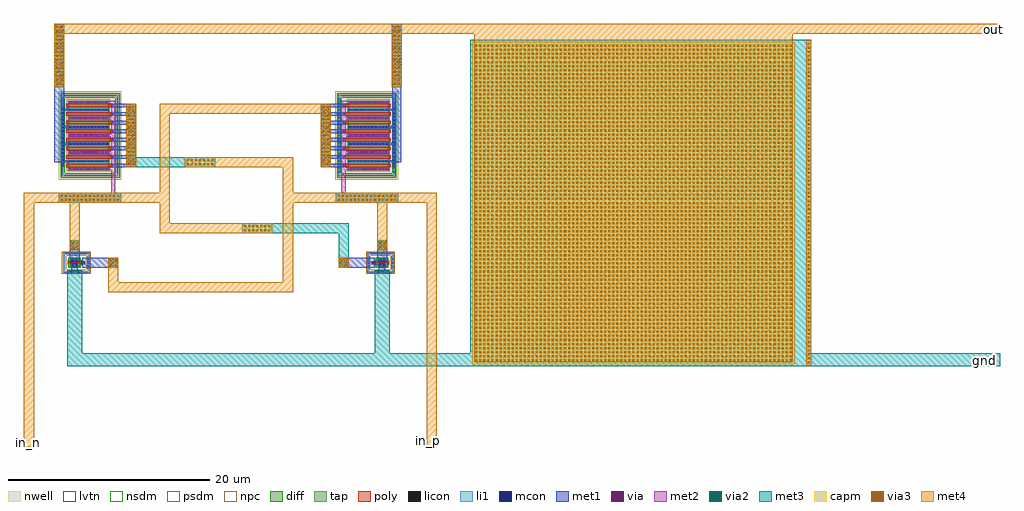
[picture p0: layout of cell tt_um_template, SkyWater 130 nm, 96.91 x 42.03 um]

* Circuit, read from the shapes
.subckt tt_um_template gnd in_n in_p out
XM1 in_n in_p gnd gnd sky130_fd_pr__nfet_01v8_lvt w=1 l=0.15
XM2 in_p in_n gnd gnd sky130_fd_pr__nfet_01v8_lvt w=1 l=0.15
XM3 out in_p in_n out sky130_fd_pr__pfet_01v8 w=4 l=0.35 m=8
XM4 out in_n in_p out sky130_fd_pr__pfet_01v8 w=4 l=0.35 m=8
XC5 out gnd sky130_fd_pr__cap_mim_m3_1 w=32 l=32
.ends

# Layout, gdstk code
from math import pi, radians
import gdstk
lib = gdstk.Library(unit=1e-6, precision=5e-09)
def R(c, l, rs):  # rectangles x0, y0, x1, y1
    for r in rs: c.add(gdstk.rectangle(r[:2], r[2:], *l))
def A(c, l, x, y, w, h, nx, ny, dx, dy):  # array of equal rectangles
    R(c, l, [(x+i*dx, y+j*dy, x+i*dx+w, y+j*dy+h) for i in range(nx) for j in range(ny)])
def P(c, l, *ps):  # polygons
    for p in ps: c.add(gdstk.Polygon(p, *l))
nwell = (64, 20)
diff = (65, 20)
tap = (65, 44)
poly = (66, 20)
licon = (66, 44)
li1 = (67, 20)
mcon = (67, 44)
met1 = (68, 20)
via = (68, 44)
met2 = (69, 20)
via2 = (69, 44)
met3 = (70, 20)
via3 = (70, 44)
met4 = (71, 20)
capm = (89, 44)
nsdm = (93, 44)
psdm = (94, 20)
npc = (95, 20)
lvtn = (125, 44)

vias_gen_13 = lib.new_cell('vias_gen$13')
R(vias_gen_13, li1, [(0,0,1.5,0.33)])
A(vias_gen_13, mcon, 0.125, 0.08, 0.17, 0.17, 4, 1, 0.36, 0)
R(vias_gen_13, met1, [(0,0,1.5,0.33)])
A(vias_gen_13, via, 0.195, 0.09, 0.15, 0.15, 4, 1, 0.32, 0)
R(vias_gen_13, met2, [(0,0,1.5,0.33)])
A(vias_gen_13, via2, 0.25, 0.065, 0.2, 0.2, 3, 1, 0.4, 0)
R(vias_gen_13, met3, [(0,0,1.5,0.33)])

vias_gen_12 = lib.new_cell('vias_gen$12')
R(vias_gen_12, met1, [(0,0,1,1)])
A(vias_gen_12, via, 0.105, 0.105, 0.15, 0.15, 3, 3, 0.32, 0.32)
R(vias_gen_12, met2, [(0,0,1,1)])
R(vias_gen_12, via2, [(0.2,0.2,0.4,0.4), (0.6,0.2,0.8,0.4), (0.2,0.6,0.4,0.8), (0.6,0.6,0.8,0.8)])
R(vias_gen_12, met3, [(0,0,1,1)])
R(vias_gen_12, via3, [(0.2,0.2,0.4,0.4), (0.6,0.2,0.8,0.4), (0.2,0.6,0.4,0.8), (0.6,0.6,0.8,0.8)])
R(vias_gen_12, met4, [(0,0,1,1)])

nfet = lib.new_cell('nfet')
R(nfet, diff, [(0,0,0.75,1)])
P(nfet, tap, [(-0.615,-0.64),(-0.615,1.81),(-0.445,1.81),(-0.445,-0.47),(1.195,-0.47),(1.195,1.81),(-0.615,1.81),(-0.615,1.98),(1.365,1.98),(1.365,-0.64)])
R(nfet, poly, [(0.3,-0.2,0.45,1.2), (0.24,1.2,0.51,1.53)])
A(nfet, licon, -0.07, -0.64, 0.17, 0.17, 3, 2, 0.36, 2.45)
A(nfet, licon, -0.615, -0.135, 0.17, 0.17, 1, 5, 0, 0.36)
A(nfet, licon, 1.195, -0.135, 0.17, 0.17, 1, 5, 0, 0.36)
R(nfet, licon, [(0.065,0.235,0.235,0.405), (0.515,0.235,0.685,0.405), (0.065,0.595,0.235,0.765), (0.515,0.595,0.685,0.765), (0.29,1.28,0.46,1.45)])
R(nfet, li1, [(0.065,0.155,0.235,0.845), (0.515,0.155,0.685,0.845), (0.21,1.28,0.54,1.45)])
P(nfet, li1, [(-0.615,-0.64),(-0.615,1.81),(-0.445,1.81),(-0.445,-0.47),(1.195,-0.47),(1.195,1.81),(-0.615,1.81),(-0.615,1.98),(1.365,1.98),(1.365,-0.64)])
R(nfet, mcon, [(0.065,0.235,0.235,0.405), (0.515,0.235,0.685,0.405), (0.065,0.595,0.235,0.765), (0.515,0.595,0.685,0.765), (0.29,1.28,0.46,1.45)])
R(nfet, met1, [(0.035,0.175,0.265,0.825), (0.485,0.175,0.715,0.825), (0.19,1.25,0.56,1.48)])
R(nfet, nsdm, [(-0.125,-0.125,0.875,1.125)])
P(nfet, psdm, [(-0.74,-0.765),(-0.74,1.685),(-0.32,1.685),(-0.32,-0.345),(1.07,-0.345),(1.07,1.685),(-0.74,1.685),(-0.74,2.105),(1.49,2.105),(1.49,-0.765)])
R(nfet, npc, [(0.23,1.19,0.52,1.54)])
R(nfet, lvtn, [(0.12,-0.18,0.63,1.18)])

vias_gen = lib.new_cell('vias_gen')
R(vias_gen, met1, [(0,0,0.32,4)])
A(vias_gen, via, 0.085, 0.165, 0.15, 0.15, 1, 12, 0, 0.32)
R(vias_gen, met2, [(0,0,0.32,4)])

pfet = lib.new_cell('pfet')
R(pfet, nwell, [(-0.92,-0.945,7.82,5.285)])
R(pfet, diff, [(0,0,6.9,4)])
P(pfet, tap, [(-0.615,-0.64),(-0.615,4.81),(-0.445,4.81),(-0.445,-0.47),(7.345,-0.47),(7.345,4.81),(-0.615,4.81),(-0.615,4.98),(7.515,4.98),(7.515,-0.64)])
A(pfet, poly, 0.3, -0.2, 0.35, 4.4, 8, 1, 0.85, 0)
A(pfet, poly, 0.3, 4.2, 0.35, 0.33, 8, 1, 0.85, 0)
A(pfet, licon, -0.235, -0.64, 0.17, 0.17, 21, 2, 0.36, 5.45)
A(pfet, licon, -0.615, -0.075, 0.17, 0.17, 1, 13, 0, 0.36)
A(pfet, licon, 7.345, -0.075, 0.17, 0.17, 1, 13, 0, 0.36)
A(pfet, licon, 0.065, 0.115, 0.17, 0.17, 1, 11, 0, 0.36)
A(pfet, licon, 0.815, 0.115, 0.17, 0.17, 7, 11, 0.85, 0.36)
A(pfet, licon, 6.665, 0.115, 0.17, 0.17, 1, 11, 0, 0.36)
A(pfet, licon, 0.39, 4.28, 0.17, 0.17, 8, 1, 0.85, 0)
A(pfet, li1, 0.815, 0.035, 0.17, 3.93, 7, 1, 0.85, 0)
A(pfet, li1, 0.31, 4.28, 0.33, 0.17, 8, 1, 0.85, 0)
R(pfet, li1, [(0.065,0.035,0.235,3.965), (6.665,0.035,6.835,3.965)])
P(pfet, li1, [(-0.615,-0.64),(-0.615,4.81),(-0.445,4.81),(-0.445,-0.47),(7.345,-0.47),(7.345,4.81),(-0.615,4.81),(-0.615,4.98),(7.515,4.98),(7.515,-0.64)])
A(pfet, mcon, 0.065, 0.115, 0.17, 0.17, 1, 11, 0, 0.36)
A(pfet, mcon, 0.815, 0.115, 0.17, 0.17, 7, 11, 0.85, 0.36)
A(pfet, mcon, 6.665, 0.115, 0.17, 0.17, 1, 11, 0, 0.36)
A(pfet, mcon, 0.39, 4.28, 0.17, 0.17, 8, 1, 0.85, 0)
A(pfet, met1, 0.785, 0.055, 0.23, 3.89, 7, 1, 0.85, 0)
A(pfet, met1, 0.29, 4.25, 0.37, 0.23, 8, 1, 0.85, 0)
R(pfet, met1, [(0.035,0.055,0.265,3.945), (6.635,0.055,6.865,3.945)])
P(pfet, nsdm, [(-0.74,-0.765),(-0.74,4.685),(-0.32,4.685),(-0.32,-0.345),(7.22,-0.345),(7.22,4.685),(-0.74,4.685),(-0.74,5.105),(7.64,5.105),(7.64,-0.765)])
R(pfet, psdm, [(-0.125,-0.125,7.025,4.125)])
A(pfet, npc, 0.29, 4.19, 0.37, 0.35, 8, 1, 0.85, 0)

vias_gen_3 = lib.new_cell('vias_gen$3')
R(vias_gen_3, li1, [(0,0,6,0.25)])
A(vias_gen_3, mcon, 0.215, 0.04, 0.17, 0.17, 16, 1, 0.36, 0)
R(vias_gen_3, met1, [(0,0,6,0.25)])

vias_gen_9 = lib.new_cell('vias_gen$9')
R(vias_gen_9, met1, [(0,0,6.32,1)])
A(vias_gen_9, via, 0.205, 0.105, 0.15, 0.15, 19, 3, 0.32, 0.32)
R(vias_gen_9, met2, [(0,0,6.32,1)])
A(vias_gen_9, via2, 0.26, 0.2, 0.2, 0.2, 15, 2, 0.4, 0.4)
R(vias_gen_9, met3, [(0,0,6.32,1)])
A(vias_gen_9, via3, 0.26, 0.2, 0.2, 0.2, 15, 2, 0.4, 0.4)
R(vias_gen_9, met4, [(0,0,6.32,1)])

vias_gen_11 = lib.new_cell('vias_gen$11')
R(vias_gen_11, met2, [(0,0,6.2,1)])
A(vias_gen_11, via2, 0.2, 0.2, 0.2, 0.2, 15, 2, 0.4, 0.4)
R(vias_gen_11, met3, [(0,0,6.2,1)])
A(vias_gen_11, via3, 0.2, 0.2, 0.2, 0.2, 15, 2, 0.4, 0.4)
R(vias_gen_11, met4, [(0,0,6.2,1)])

vias_gen_10 = lib.new_cell('vias_gen$10')
R(vias_gen_10, met3, [(0,0,1,3)])
A(vias_gen_10, via3, 0.2, 0.2, 0.2, 0.2, 1, 7, 0, 0.4)
A(vias_gen_10, via3, 0.6, 0.2, 0.2, 0.2, 1, 7, 0, 0.4)
R(vias_gen_10, met4, [(0,0,1,3)])

mim_cap = lib.new_cell('mim_cap')
R(mim_cap, met3, [(-0.2,-0.2,33.66,32.2)])
A(mim_cap, via3, 33.3, 0.1, 0.2, 0.2, 1, 80, 0, 0.4)
A(mim_cap, via3, 0.3, 0.3, 0.2, 0.2, 79, 79, 0.4, 0.4)
R(mim_cap, met4, [(33.16,-0.14,33.64,32.14), (0.195,0.195,31.805,31.805)])
R(mim_cap, capm, [(0,0,32,32)])

tt_um_template = lib.new_cell('tt_um_template')
A(tt_um_template, met1, 37.165, 126.685, 1.27, 0.37, 1, 8, 0, 0.85)
A(tt_um_template, met1, 58.75, 126.685, 1.27, 0.37, 1, 8, 0, 0.85)
A(tt_um_template, met1, 32.045, 127.18, 0.695, 0.23, 1, 3, 0, 1.7)
A(tt_um_template, met1, 64.445, 127.18, 0.695, 0.23, 1, 3, 0, 1.7)
R(tt_um_template, met1, [(33,116.435,33.65,116.87), (63.535,116.435,64.185,116.87), (34.075,116.71,37.64,117.71), (59.545,116.71,63.11,117.71), (32.825,117.32,33.825,119.075), (63.36,117.32,64.36,119.075), (38.435,126.685,39.435,133.005), (57.75,126.685,58.75,133.005), (31.305,127.18,32.305,140.14), (64.88,127.18,65.735,140.14), (32.215,132.28,32.74,132.51), (64.445,132.28,64.97,132.51)])
A(tt_um_template, met2, 36.65, 127.985, 0.285, 0.32, 1, 3, 0, 1.7)
A(tt_um_template, met2, 60.25, 127.985, 0.285, 0.32, 1, 3, 0, 1.7)
R(tt_um_template, met2, [(36.935,123.15,37.37,133.31), (59.815,123.15,60.25,133.31), (36.65,126.385,36.935,126.705), (60.25,126.385,60.535,126.705), (36.65,132.99,36.935,133.31), (60.25,132.99,60.535,133.31)])
R(tt_um_template, met3, [(32.58,106.94,34.08,116.455), (32.58,106.94,125.2,108.235), (63.105,106.94,64.605,116.455), (59.545,117.71,60.545,121.15), (49.96,120.15,60.545,121.15), (38.435,126.685,44.27,127.685)])
R(tt_um_template, met4, [(28.295,98.9,29.295,124.15), (68.265,98.9,69.265,124.15), (36.64,114.27,37.64,117.71), (36.64,114.27,54.01,115.27), (54.01,114.27,55.01,124.15), (32.825,119.435,33.825,124.15), (63.36,119.435,64.36,124.15), (41.78,120.15,42.78,124.15), (41.78,120.15,52.3,121.15), (28.295,123.15,42.78,124.15), (32.825,123.15,37.37,124.15), (54.01,123.15,69.19,124.15), (73.005,137.04,104.615,140.93), (31.45,139.93,125.2,140.93)])
tt_um_template.add(gdstk.FlexPath([(47.27,127.185),(54.51,127.185),(54.51,124.15)], 1, ends="flush", simple_path=True, layer=71, datatype=20))  # met4
tt_um_template.add(gdstk.FlexPath([(57.75,132.505),(42.28,132.505),(42.28,123.155)], 1, ends="flush", simple_path=True, layer=71, datatype=20))  # met4
tt_um_template.add(gdstk.Reference(vias_gen_13, (34.08,116.455), rotation=pi))
tt_um_template.add(gdstk.Reference(vias_gen_12, (32.825,118.435)))
tt_um_template.add(gdstk.Reference(nfet, (32.825,117.585), rotation=3*pi/2))
tt_um_template.add(gdstk.Reference(vias_gen, (32.685,130.005), rotation=3*pi/2))
tt_um_template.add(gdstk.Reference(vias_gen, (32.685,133.31), rotation=3*pi/2))
tt_um_template.add(gdstk.Reference(vias_gen, (32.685,128.305), rotation=3*pi/2))
tt_um_template.add(gdstk.Reference(vias_gen, (32.685,126.705), rotation=3*pi/2))
tt_um_template.add(gdstk.Reference(vias_gen, (32.685,131.705), rotation=3*pi/2))
tt_um_template.add(gdstk.Reference(pfet, (32.685,133.295), rotation=3*pi/2))
tt_um_template.add(gdstk.Reference(vias_gen_3, (32.015,132.75), rotation=3*pi/2))
tt_um_template.add(gdstk.Reference(vias_gen_13, (63.105,116.455), x_reflection=True))
tt_um_template.add(gdstk.Reference(vias_gen_12, (64.36,118.435), rotation=pi, x_reflection=True))
tt_um_template.add(gdstk.Reference(nfet, (64.36,117.585), rotation=3*pi/2, x_reflection=True))
tt_um_template.add(gdstk.Reference(vias_gen_12, (60.545,116.71), rotation=pi, x_reflection=True))
tt_um_template.add(gdstk.Reference(vias_gen, (64.5,130.005), rotation=3*pi/2, x_reflection=True))
tt_um_template.add(gdstk.Reference(vias_gen, (64.5,133.31), rotation=3*pi/2, x_reflection=True))
tt_um_template.add(gdstk.Reference(vias_gen, (64.5,128.305), rotation=3*pi/2, x_reflection=True))
tt_um_template.add(gdstk.Reference(vias_gen, (64.5,126.705), rotation=3*pi/2, x_reflection=True))
tt_um_template.add(gdstk.Reference(vias_gen, (64.5,131.705), rotation=3*pi/2, x_reflection=True))
tt_um_template.add(gdstk.Reference(pfet, (64.5,133.295), rotation=3*pi/2, x_reflection=True))
tt_um_template.add(gdstk.Reference(vias_gen_3, (65.17,132.75), rotation=3*pi/2, x_reflection=True))
tt_um_template.add(gdstk.Reference(vias_gen_12, (36.64,116.71)))
tt_um_template.add(gdstk.Reference(vias_gen_9, (57.75,133.005), rotation=3*pi/2))
tt_um_template.add(gdstk.Reference(vias_gen_9, (38.435,133.005), rotation=3*pi/2))
tt_um_template.add(gdstk.Reference(vias_gen_11, (59.245,123.15)))
tt_um_template.add(gdstk.Reference(vias_gen_11, (31.74,123.15)))
tt_um_template.add(gdstk.Reference(vias_gen_10, (44.27,127.685), rotation=3*pi/2))
tt_um_template.add(gdstk.Reference(vias_gen_9, (31.305,140.93), rotation=3*pi/2))
tt_um_template.add(gdstk.Reference(vias_gen_10, (49.96,121.15), rotation=3*pi/2))
tt_um_template.add(gdstk.Reference(vias_gen_9, (64.805,140.93), rotation=3*pi/2))
tt_um_template.add(gdstk.Reference(mim_cap, (72.81,107.14)))
tt_um_template.add(gdstk.Label('in_p', (68.485,99.595), layer=71, texttype=5))
tt_um_template.add(gdstk.Label('out', (124.555,140.385), layer=71, texttype=5))
tt_um_template.add(gdstk.Label('in_n', (28.755,99.365), layer=71, texttype=5))
tt_um_template.add(gdstk.Label('gnd', (123.695,107.485), layer=70, texttype=5))

lib.write_gds('tt_um_template.gds')
